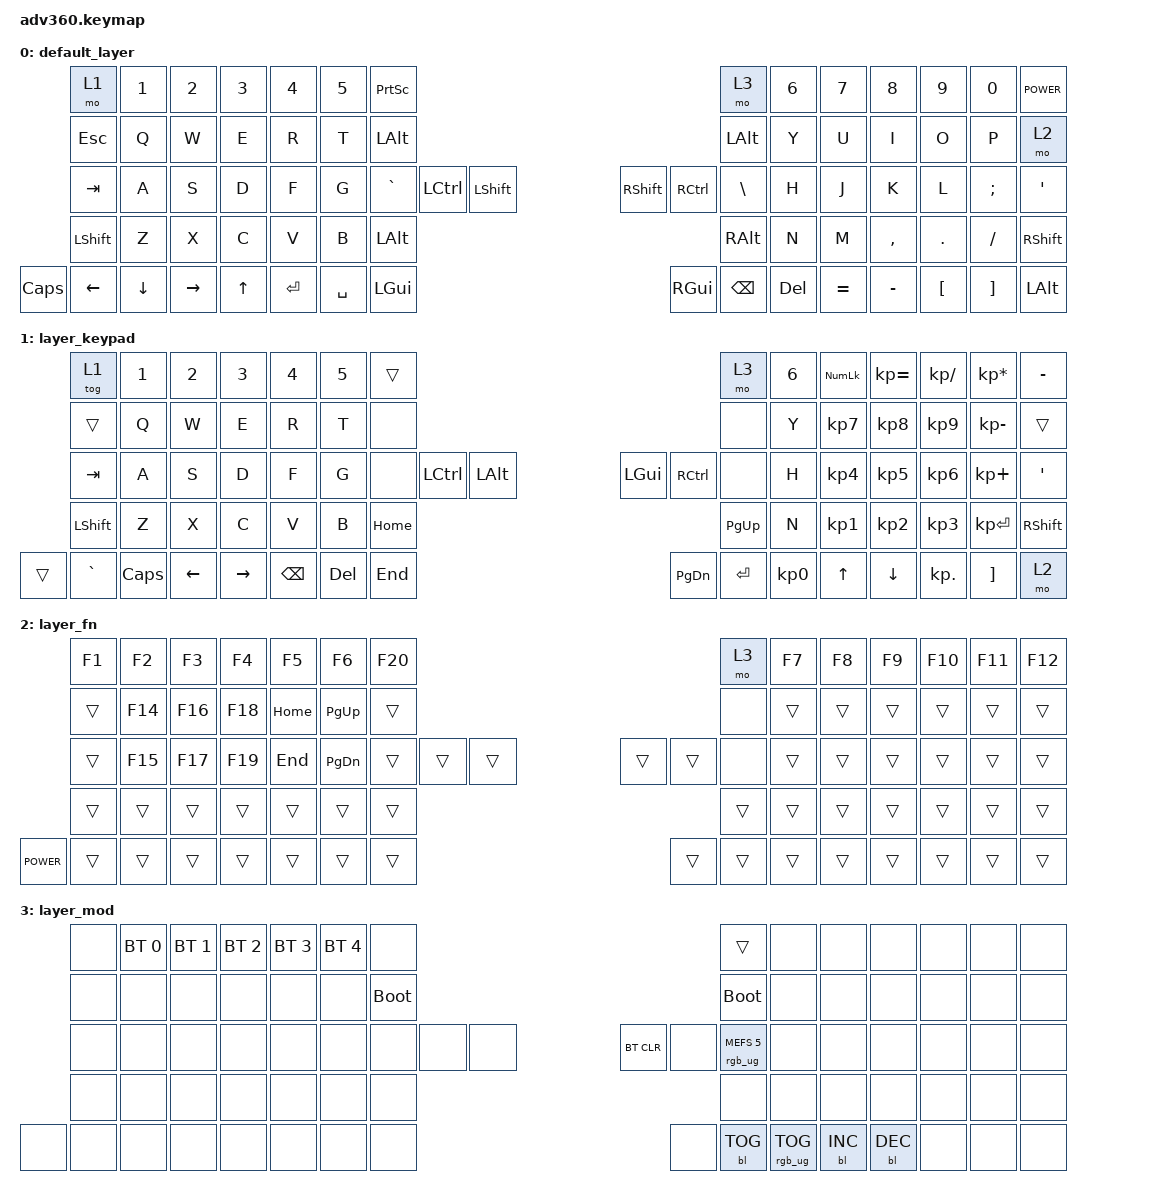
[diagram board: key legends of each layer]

/*
 * Copyright (c) 2020 The ZMK Contributors
 *
 * SPDX-License-Identifier: MIT
 */


/* THIS FILE WAS GENERATED!
 *
 * This file was generated automatically. You may or may not want to
 * edit it directly.
 */

#include <behaviors.dtsi>
#include <dt-bindings/zmk/keys.h>
#include <dt-bindings/zmk/bt.h>
#include <dt-bindings/zmk/rgb.h>
#include <dt-bindings/zmk/backlight.h>

/ {
  behaviors {
    #include "macros.dtsi"
    #include "version.dtsi"

    hm: homerow_mods {
        compatible = "zmk,behavior-hold-tap";
        label = "HOMEROW_MODS";
        #binding-cells = <2>;
        tapping-term-ms = <200>;
        quick_tap_ms = <175>;
        flavor = "tap-preferred";
        bindings = <&kp>, <&kp>;
    };
  };

    keymap {
        compatible = "zmk,keymap";


        default_layer {
            bindings = <
     &mo 1    &kp N1    &kp N2     &kp N3  &kp N4  &kp N5            &kp PRINTSCREEN                                                                       &mo 3  &kp N6     &kp N7     &kp N8    &kp N9    &kp N0       &kp K_POWER
   &kp ESC     &kp Q     &kp W      &kp E   &kp R   &kp T                   &kp LALT                                                                    &kp LALT   &kp Y      &kp U      &kp I     &kp O     &kp P             &mo 2
   &kp TAB     &kp A     &kp S      &kp D   &kp F   &kp G                  &kp GRAVE  &kp LCTRL  &kp LSHIFT                  &kp RSHIFT      &kp RCTRL  &kp BSLH   &kp H      &kp J      &kp K     &kp L  &kp SEMI  &kp SINGLE_QUOTE
 &kp LSHFT     &kp Z     &kp X      &kp C   &kp V   &kp B                                          &kp LALT                    &kp RALT                            &kp N      &kp M  &kp COMMA   &kp DOT  &kp FSLH         &kp RSHFT
  &kp CAPS  &kp LEFT  &kp DOWN  &kp RIGHT  &kp UP                          &kp ENTER  &kp SPACE    &kp LGUI                    &kp RGUI  &kp BACKSPACE   &kp DEL          &kp EQUAL  &kp MINUS  &kp LBKT  &kp RBKT          &kp LALT
            >;
        };

        layer_keypad {
            bindings = <
    &tog 1     &kp N1    &kp N2    &kp N3     &kp N4  &kp N5              &trans                                                                 &mo 3  &kp N6  &kp KP_NUM  &kp KP_EQUAL  &kp KP_DIVIDE  &kp KP_MULTIPLY  &kp MINUS
    &trans      &kp Q     &kp W     &kp E      &kp R   &kp T               &none                                                                 &none   &kp Y   &kp KP_N7     &kp KP_N8      &kp KP_N9     &kp KP_MINUS     &trans
   &kp TAB      &kp A     &kp S     &kp D      &kp F   &kp G               &none  &kp LCTRL  &kp LALT                   &kp LGUI  &kp RCTRL      &none   &kp H   &kp KP_N4     &kp KP_N5      &kp KP_N6      &kp KP_PLUS    &kp SQT
 &kp LSHFT      &kp Z     &kp X     &kp C      &kp V   &kp B                                 &kp HOME                  &kp PG_UP                         &kp N   &kp KP_N1     &kp KP_N2      &kp KP_N3     &kp KP_ENTER  &kp RSHFT
    &trans  &kp GRAVE  &kp CAPS  &kp LEFT  &kp RIGHT                    &kp BSPC    &kp DEL   &kp END                  &kp PG_DN  &kp ENTER  &kp KP_N0              &kp UP      &kp DOWN     &kp KP_DOT         &kp RBKT      &mo 2
            >;
        };

        layer_fn {
            bindings = <
      &kp F1   &kp F2   &kp F3   &kp F4    &kp F5     &kp F6            &kp F20                                                   &mo 3  &kp F7  &kp F8  &kp F9  &kp F10  &kp F11  &kp F12
      &trans  &kp F14  &kp F16  &kp F18  &kp HOME  &kp PG_UP             &trans                                                   &none  &trans  &trans  &trans   &trans   &trans   &trans
      &trans  &kp F15  &kp F17  &kp F19   &kp END  &kp PG_DN             &trans  &trans  &trans                  &trans  &trans   &none  &trans  &trans  &trans   &trans   &trans   &trans
      &trans   &trans   &trans   &trans    &trans     &trans                             &trans                  &trans                  &trans  &trans  &trans   &trans   &trans   &trans
 &kp C_POWER   &trans   &trans   &trans    &trans                        &trans  &trans  &trans                  &trans  &trans  &trans          &trans  &trans   &trans   &trans   &trans
            >;
        };

        layer_mod {
            bindings = <
  &none  &bt BT_SEL 0  &bt BT_SEL 1  &bt BT_SEL 2  &bt BT_SEL 3  &bt BT_SEL 4                  &none                                                                          &trans   &none       &none       &none   &none   &none   &none
  &none         &none         &none         &none         &none         &none            &bootloader                                                                     &bootloader   &none       &none       &none   &none   &none   &none
  &none         &none         &none         &none         &none         &none                  &none   &none   &none                  &bt BT_CLR       &none  &rgb_ug RGB_MEFS_CMD 5   &none       &none       &none   &none   &none   &none
  &none         &none         &none         &none         &none         &none                                  &none                       &none                                       &none       &none       &none   &none   &none   &none
  &none         &none         &none         &none         &none                                &none   &none   &none                       &none  &bl BL_TOG         &rgb_ug RGB_TOG          &bl BL_INC  &bl BL_DEC   &none   &none   &none
            >;
        };

    };
};
